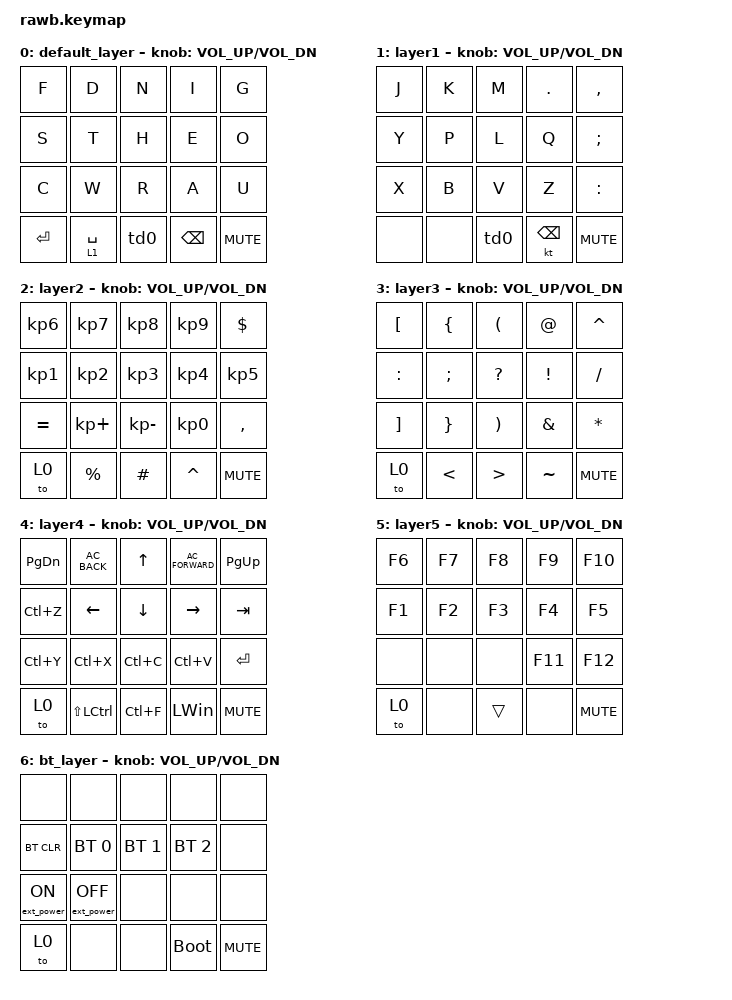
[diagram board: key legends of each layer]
  #include <behaviors.dtsi>
  #include <dt-bindings/zmk/keys.h>
  #include <dt-bindings/zmk/bt.h>
  #include <dt-bindings/zmk/ext_power.h>

  &encoder {
    status = "okay";
  };

  / {
    combos {
      compatible = "zmk,combos";
      combo_num {
        timeout-ms = <50>;
        key-positions = <6 7 8>;
        bindings = <&to 2>;
      };

      combo_symb {
        timeout-ms = <50>;
        key-positions = <1 2 3>;
        bindings = <&to 3>;
      };

      combo_nav {
        timeout-ms = <50>;
        key-positions = <2 6 8>;
        bindings = <&to 4>;
      };

      combo_func {
        timeout-ms = <50>;
        key-positions = <11 12 13>;
        bindings = <&to 5>;
      };

      combo_conf {
        timeout-ms = <50>;
        key-positions = <1 2 8>;
        bindings = <&to 6>;
      };

      combo_caps {
        timeout-ms = <50>;
        key-positions = <10 11 12>;
        bindings = <&kp CAPSLOCK>;
      };

      combo_qb {
        timeout-ms = <50>;
        key-positions = <2 3>;
        bindings = <&kp LC(BSPC)>;
      };

      combo_tf {
        timeout-ms = <50>;
        key-positions = <3 4>;
        bindings = <&kp LC(TAB)>;
      };

      combo_tb {
        timeout-ms = <50>;
        key-positions = <0 1>;
        bindings = <&kp LC(LS(TAB))>;
      };

    };
  };

  / {
    behaviors {
      td0: tap_dance_0 {
        compatible = "zmk,behavior-tap-dance";
        #binding-cells = <0>;
        tapping-term-ms = <200>;
        bindings = <&sk LSHIFT>, <&sk LCTRL>;
      };
    };
  };

  / {
    keymap {
      compatible = "zmk,keymap";
  
        default_layer {
            bindings = <
            &kp F &kp D &kp N &kp I &kp G  
            &kp S &kp T &kp H &kp E &kp O 
            &kp C &kp W &kp R &kp A &kp U 
                              &kp ENTER &lt 1 SPACE &td0 &kp BSPC &kp C_MUTE
            >;
            sensor-bindings = <&inc_dec_kp C_VOL_UP C_VOL_DN>;
        };
        
        layer1 {
            bindings = <
            &kp J &kp K &kp M &kp DOT &kp COMMA 
            &kp Y &kp P &kp L &kp Q &kp SEMICOLON 
            &kp X &kp B &kp V &kp Z &kp COLON 
                              &none &none &td0 &kt BSPC &kp C_MUTE
            >;
            sensor-bindings = <&inc_dec_kp C_VOL_UP C_VOL_DN>;
        };
        
        layer2 {
            bindings = <
            &kp KP_N6 &kp KP_N7 &kp KP_N8 &kp KP_N9 &kp DLLR 
            &kp KP_N1 &kp KP_N2 &kp KP_N3 &kp KP_N4 &kp KP_N5 
            &kp EQUAL &kp KP_PLUS &kp KP_MINUS &kp KP_N0 &kp COMMA 
                                                  &to 0 &kp PERCENT &kp HASH &kp CARET &kp C_MUTE
            >;
            sensor-bindings = <&inc_dec_kp C_VOL_UP C_VOL_DN>;
        };
        
        layer3 {
            bindings = <
            &kp LEFT_BRACKET &kp LBRC &kp LPAR &kp AT &kp CARET 
            &kp COLON &kp SEMICOLON &kp QUESTION &kp EXCL &kp SLASH 
            &kp RIGHT_BRACKET &kp RBRC &kp RPAR &kp AMPS &kp ASTRK 
                                                      &to 0 &kp LT &kp GT &kp TILDE &kp C_MUTE
            >;
            sensor-bindings = <&inc_dec_kp C_VOL_UP C_VOL_DN>;
        };
        
        layer4 {
            bindings = <
            &kp PAGE_DOWN &kp C_AC_BACK &kp UP &kp C_AC_FORWARD &kp PAGE_UP 
            &kp LC(Z) &kp LEFT &kp DOWN &kp RIGHT &kp TAB 
            &kp LC(Y) &kp LC(X) &kp LC(C) &kp LC(V) &kp ENTER 
                                         &to 0 &kp LS(LCTRL) &kp LC(F) &kp LEFT_WIN &kp C_MUTE
          >;
          sensor-bindings = <&inc_dec_kp C_VOL_UP C_VOL_DN>;
        };
        
        layer5 {
            bindings = <
            &kp F6 &kp F7 &kp F8 &kp F9 &kp F10 
            &kp F1 &kp F2 &kp F3 &kp F4 &kp F5 
            &none &none &none &kp F11 &kp F12 
                                    &to 0 &none &trans &none &kp C_MUTE
            >;
            sensor-bindings = <&inc_dec_kp C_VOL_UP C_VOL_DN>;
        };
        
        bt_layer {
            bindings = <
            &none &none &none &none &none 
            &bt BT_CLR &bt BT_SEL 0 &bt BT_SEL 1 &bt BT_SEL 2 &none 
            &ext_power EP_ON &ext_power EP_OFF &none &none &none 
                                    &to 0 &none &none &bootloader &kp C_MUTE
          >;
          sensor-bindings = <&inc_dec_kp C_VOL_UP C_VOL_DN>;
        };
    };
  };
  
